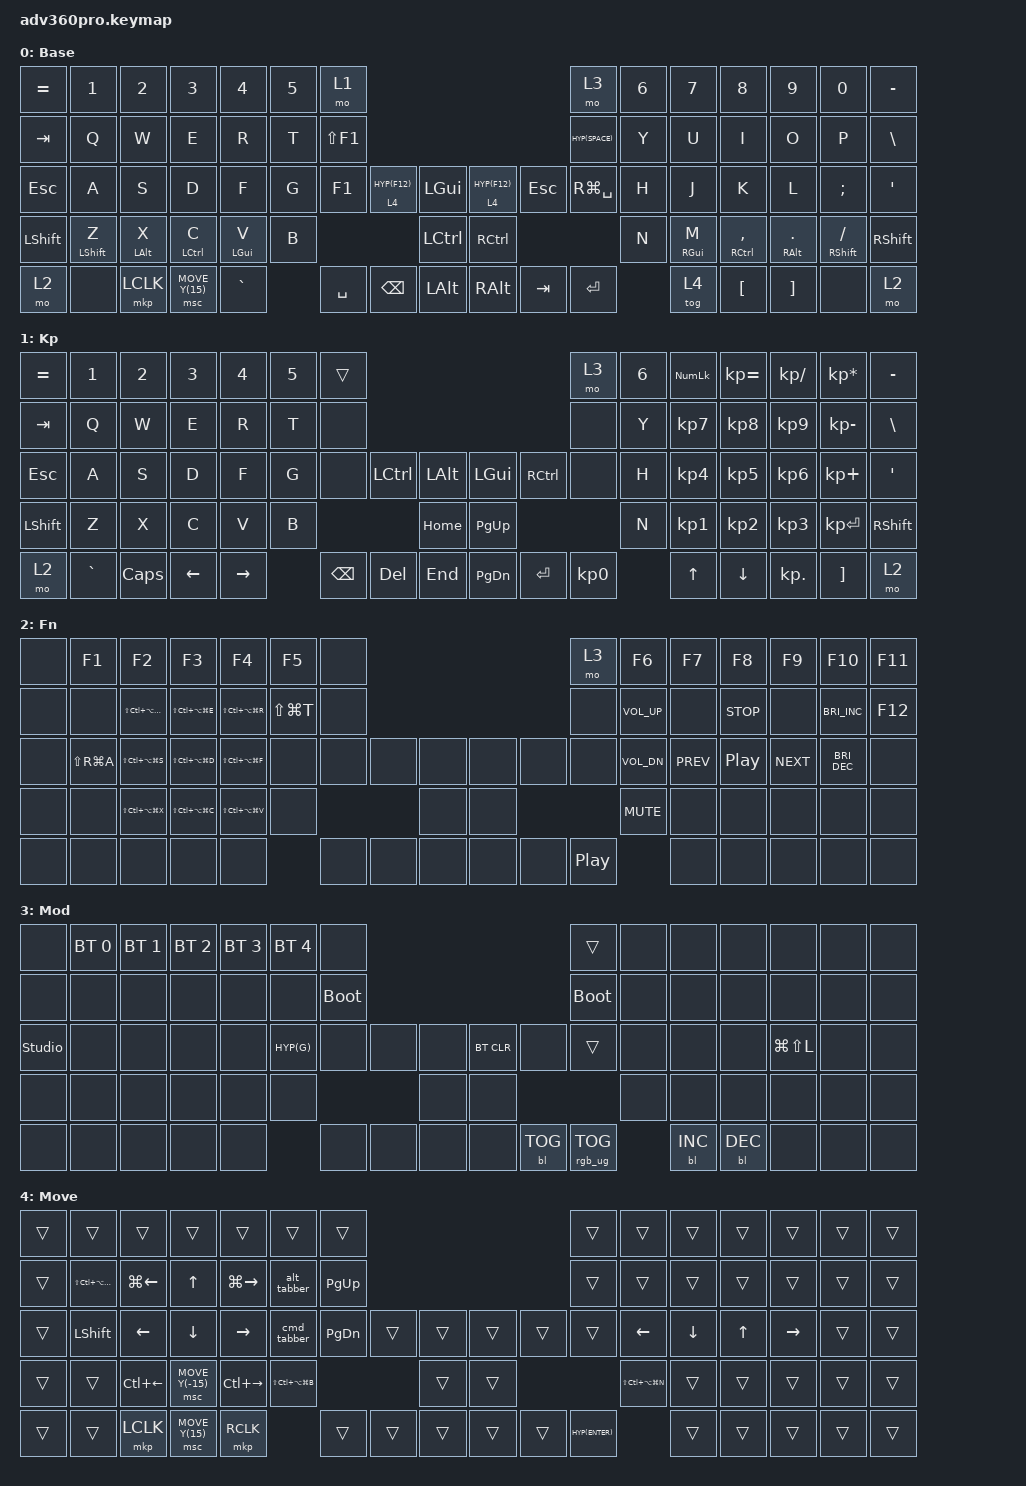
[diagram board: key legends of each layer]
#include <behaviors.dtsi>
#include <dt-bindings/zmk/backlight.h>
#include <dt-bindings/zmk/bt.h>
#include <dt-bindings/zmk/keys.h>
#include <dt-bindings/zmk/pointing.h>
#include <dt-bindings/zmk/rgb.h>
#include <dt-bindings/zmk/backlight.h>

//  ╭────────────────────────────┬────────────────────────────╮
//  │  0   1   2   3   4   5   6 │  7   8   9  10  11  12  13 │
//  │ 14  15  16  17  18  19  20 │ 21  22  23  24  25  26  27 │
//  │ 28  29  30  31  32  33  34 │ 39  40  41  42  43  44  45 │
//  │ 46  47  48  49  50  51 ╭───┴───╮ 54  55  56  57  58  59 │
//  │ 60  61  62  63  64╭────╯       ╰────╮71  72  73  74  75 │
//  ╰───────────────────┼────────┬────────┼───────────────────╯
//                  ╭───╯ 35  36 │ 37  38 ╰───╮
//                  │ 65  66  67 │ 68  69  70 │
//                  ╰───────╮ 52 │ 53 ╭───────╯
//                          ╰────┴────╯

#define KEYS_R \
  7  8  9  10 11 12 13 \
  21 22 23 24 25 26 27 \
  39 40 41 42 43 44 45 \
  54 55 56 57 58 59 \
  71 72 73 74 75

#define KEYS_L \
  0  1  2  3  4  5  6 \
  14 15 16 17 18 19 20 \
  28 29 30 31 32 33 34 \
  46 47 48 49 50 51 \
  60 61 62 63 64

#define THUMBS_R \
  37 38 \
  68 69 70 \
  53

#define THUMBS_L \
  35 36 \
  65 66 67 \
  52

#define HYP(KEY) LS(LC(LA(LG(KEY))))

/ {
  behaviors {
    hml: homerow_mods_left {
      compatible = "zmk,behavior-hold-tap";
      #binding-cells = <2>;
      flavor = "balanced";
      tapping-term-ms = <280>;
      quick-tap-ms = <280>;
      require-prior-idle-ms = <100>;
      bindings = <&kp>, <&kp>;
      hold-trigger-key-positions = <KEYS_R THUMBS_R THUMBS_L>;
      hold-trigger-on-release;
      idle-consider-key-positions = <
        15 16 17 18 19
        29 30 31 32 33
        47 48 49 50 51
      >;
    };

    hmr: homerow_mods_right {
      compatible = "zmk,behavior-hold-tap";
      #binding-cells = <2>;
      flavor = "balanced";
      tapping-term-ms = <280>;
      quick-tap-ms = <280>;
      require-prior-idle-ms = <100>;
      bindings = <&kp>, <&kp>;
      hold-trigger-key-positions = <KEYS_L THUMBS_L THUMBS_R>;
      hold-trigger-on-release;
      idle-consider-key-positions = <
        22 23 24 25 26 27
        40 41 42 43 44 45
        54 55 56 57 58
              72 73
      >;
    };

    alt_tabber: alt_tabber {
      compatible = "zmk,behavior-tri-state";
      #binding-cells = <0>;
      bindings = <&kt LALT>, <&kp TAB>, <&kt LALT>;
      ignored-key-positions = <29>, <46>;
    };

    cmd_tabber: cmd_tabber {
      compatible = "zmk,behavior-tri-state";
      #binding-cells = <0>;
      bindings = <&kt LCMD>, <&kp TAB>, <&kt LCMD>;
      ignored-key-positions = <29>, <46>;
    };

    blt: balanced_layer_tap {
      compatible = "zmk,behavior-hold-tap";
      #binding-cells = <2>;
      bindings = <&mo>, <&kp>;
      tapping-term-ms = <200>;
      flavor = "hold-preferred";
    };
  };

  keymap {
    compatible = "zmk,keymap";

    default_layer {
      display-name = "Base";
      bindings = <
      &kp EQUAL  &kp N1         &kp N2      &kp N3          &kp N4       &kp N5  &mo 1                                                                 &mo 3           &kp N6  &kp N7        &kp N8            &kp N9        &kp N0           &kp MINUS
      &kp TAB    &kp Q          &kp W       &kp E           &kp R        &kp T   &kp LS(F1)                                                            &kp HYP(SPACE)  &kp Y   &kp U         &kp I             &kp O         &kp P            &kp BSLH
      &kp ESC    &kp A          &kp S       &kp D           &kp F        &kp G   &kp F1      &blt 4 HYP(F12)  &kp LGUI      &blt 4 HYP(F12)  &kp ESC   &kp RG(SPACE)   &kp H   &kp J         &kp K             &kp L         &kp SEMI         &kp SQT
      &kp LSHFT  &hml LSHIFT Z  &hml LALT X &hml LCTRL C    &hml LGUI V  &kp B                                &kp LCTRL     &kp RCTRL                                  &kp N   &hmr RGUI M   &hmr RCTRL COMMA  &hmr RALT DOT &hmr RSHFT FSLH  &kp RSHFT
      &mo 2      &none          &mkp LCLK   &msc MOVE_Y(15) &kp GRAVE            &kp SPACE   &kp BACKSPACE    &kp LEFT_ALT  &kp RALT         &kp TAB   &kp ENTER               &tog 4        &kp LBKT          &kp RBKT      &none            &mo 2
      >;
    };

    layer_keypad {
      display-name = "Kp";
      bindings = <
      &kp EQUAL  &kp N1     &kp N2    &kp N3    &kp N4     &kp N5  &trans                                                   &mo 3      &kp N6  &kp KP_NUM  &kp KP_EQUAL  &kp KP_DIVIDE  &kp KP_MULTIPLY  &kp MINUS
      &kp TAB    &kp Q      &kp W     &kp E     &kp R      &kp T   &none                                                    &none      &kp Y   &kp KP_N7   &kp KP_N8     &kp KP_N9      &kp KP_MINUS     &kp BSLH
      &kp ESC    &kp A      &kp S     &kp D     &kp F      &kp G   &none     &kp LCTRL  &kp LALT      &kp LGUI   &kp RCTRL  &none      &kp H   &kp KP_N4   &kp KP_N5     &kp KP_N6      &kp KP_PLUS      &kp SQT
      &kp LSHFT  &kp Z      &kp X     &kp C     &kp V      &kp B                        &kp HOME      &kp PG_UP                        &kp N   &kp KP_N1   &kp KP_N2     &kp KP_N3      &kp KP_ENTER     &kp RSHFT
      &mo 2      &kp GRAVE  &kp CAPS  &kp LEFT  &kp RIGHT          &kp BSPC  &kp DEL    &kp END       &kp PG_DN  &kp ENTER  &kp KP_N0          &kp UP      &kp DOWN      &kp KP_DOT     &kp RBKT         &mo 2
      >;
    };

    layer_fn {
      display-name = "Fn";
      bindings = <
      &none  &kp F1         &kp F2                 &kp F3                 &kp F4                 &kp F5         &none                                  &mo 3             &kp F6        &kp F7      &kp F8            &kp F9      &kp F10               &kp F11
      &none  &none          &kp LS(LC(LA(LG(W))))  &kp LS(LC(LA(LG(E))))  &kp LS(LC(LA(LG(R))))  &kp LS(LG(T))  &none                                  &none             &kp C_VOL_UP  &none       &kp C_STOP        &none       &kp C_BRIGHTNESS_INC  &kp F12
      &none  &kp LS(RG(A))  &kp LS(LC(LA(LG(S))))  &kp LS(LC(LA(LG(D))))  &kp LS(LC(LA(LG(F))))  &none          &none  &none  &none      &none  &none  &none             &kp C_VOL_DN  &kp C_PREV  &kp C_PLAY_PAUSE  &kp C_NEXT  &kp C_BRIGHTNESS_DEC  &none
      &none  &none          &kp LS(LC(LA(LG(X))))  &kp LS(LC(LA(LG(C))))  &kp LS(LC(LA(LG(V))))  &none                        &none      &none                           &kp C_MUTE    &none       &none             &none       &none                 &none
      &none  &none          &none                  &none                  &none                                 &none  &none  &none      &none  &none  &kp C_PLAY_PAUSE                &none       &none             &none       &none                 &none
      >;
    };

    layer_mod {
      display-name = "Mod";
      bindings = <
      &none           &bt BT_SEL 0  &bt BT_SEL 1  &bt BT_SEL 2  &bt BT_SEL 3  &bt BT_SEL 4  &none                                                  &trans                  &none  &none       &none       &none          &none  &none
      &none           &none         &none         &none         &none         &none         &bootloader                                            &bootloader             &none  &none       &none       &none          &none  &none
      &studio_unlock  &none         &none         &none         &none         &kp HYP(G)    &none        &none  &none      &bt BT_CLR  &none       &trans                  &none  &none       &none       &kp LG(LS(L))  &none  &none
      &none           &none         &none         &none         &none         &none                             &none      &none                                           &none  &none       &none       &none          &none  &none
      &none           &none         &none         &none         &none                       &none        &none  &none      &none       &bl BL_TOG  &rgb_ug RGB_TOG                &bl BL_INC  &bl BL_DEC  &none          &none  &none
      >;
    };

    layer_Move {
      display-name = "Move";
      bindings = <
      &trans  &trans                 &trans        &trans           &trans         &trans                 &trans                                                          &trans    &trans                 &trans    &trans  &trans     &trans  &trans
      &trans  &kp LS(LC(LA(LG(Q))))  &kp LG(LEFT)  &kp UP           &kp LG(RIGHT)  &alt_tabber            &kp PG_UP                                                       &trans    &trans                 &trans    &trans  &trans     &trans  &trans
      &trans  &kp LEFT_SHIFT         &kp LEFT      &kp DOWN         &kp RIGHT      &cmd_tabber            &kp PG_DN     &trans        &trans      &trans  &trans          &trans    &kp LEFT               &kp DOWN  &kp UP  &kp RIGHT  &trans  &trans
      &trans  &trans                 &kp LC(LEFT)  &msc MOVE_Y(-15) &kp LC(RIGHT)  &kp LS(LC(LA(LG(B))))                              &trans      &trans                            &kp LS(LC(LA(LG(N))))  &trans    &trans  &trans     &trans  &trans
      &trans  &trans                 &mkp LCLK     &msc MOVE_Y(15)  &mkp RCLK                             &trans        &trans        &trans      &trans  &trans  &kp HYP(ENTER)    &trans    &trans  &trans     &trans  &trans
      >;
    };

    extra2 {
      display-name = "Purple";
      status = "reserved";
    };

    extra3 {
      display-name = "Cyan";
      status = "reserved";
    };

    extra4 {
      display-name = "Yellow";
      status = "reserved";
    };
  };
};
